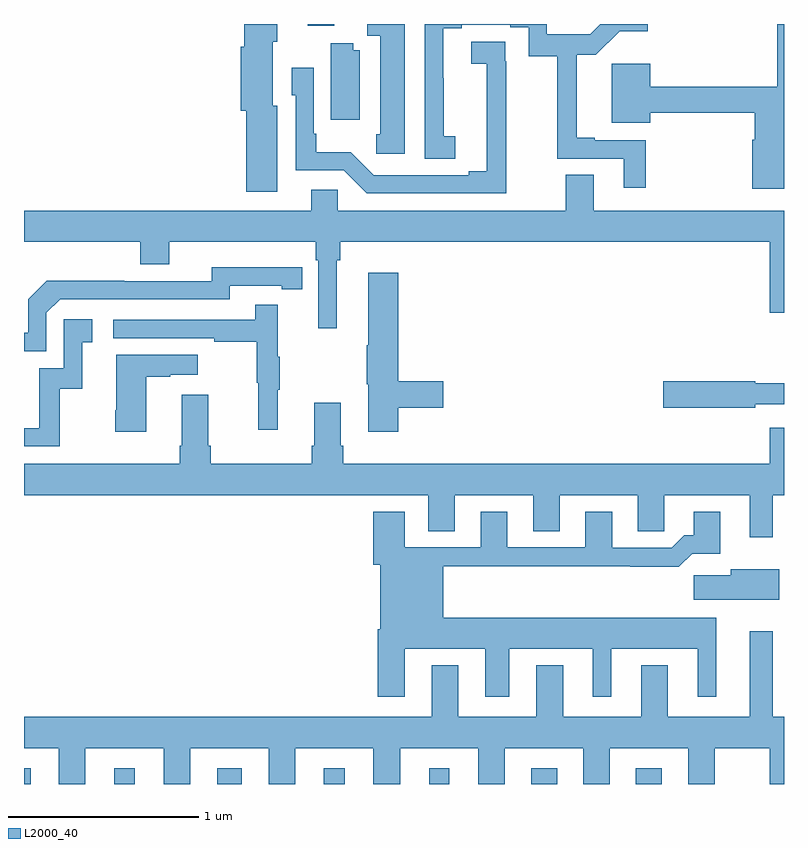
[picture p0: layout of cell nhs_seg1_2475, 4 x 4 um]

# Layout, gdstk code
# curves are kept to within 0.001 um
import gdstk
lib = gdstk.Library(unit=1e-6, precision=1e-09)
def R(c, l, rs):  # rectangles x0, y0, x1, y1
    for r in rs: c.add(gdstk.rectangle(r[:2], r[2:], *l))
def P(c, l, *ps):  # polygons
    for p in ps: c.add(gdstk.Polygon(p, *l))
L2000_40 = (2000, 40)

nhs_seg1_2475 = lib.new_cell('nhs_seg1_2475')
R(nhs_seg1_2475, L2000_40, [(245,562.199,245.035,562.282), (245.474,562.199,245.584,562.282), (246.017,562.199,246.145,562.282), (246.578,562.199,246.688,562.282), (247.133,562.199,247.237,562.282), (247.67,562.199,247.807,562.282), (248.219,562.199,248.356,562.282), (246.494,566.19,246.634,566.199)])
P(nhs_seg1_2475, L2000_40, [(248.273,565.587),(248.005,565.587),(248.005,565.6),(247.91,565.6),(247.91,566.037),(248.009,566.037),(248.135,566.162),(248.284,566.162),(248.284,566.199),(248.034,566.199),(247.981,566.146),(247.752,566.146),(247.752,566.199),(247.11,566.199),(247.11,565.489),(247.27,565.489),(247.27,565.609),(247.209,565.609),(247.209,565.913),(247.207,565.913),(247.207,566.176),(247.303,566.176),(247.303,566.196),(247.559,566.196),(247.559,566.182),(247.656,566.182),(247.656,566.029),(247.807,566.029),(247.807,565.491),(248.156,565.491),(248.156,565.338),(248.273,565.338)],
  [(249,566.199),(248.964,566.199),(248.964,565.868),(248.296,565.868),(248.296,565.989),(248.093,565.989),(248.093,565.679),(248.296,565.679),(248.296,565.732),(248.846,565.732),(248.846,565.59),(248.834,565.59),(248.834,565.331),(249,565.331)],
  [(246.334,565.77),(246.31,565.77),(246.31,566.106),(246.334,566.106),(246.334,566.199),(246.158,566.199),(246.158,566.079),(246.14,566.079),(246.14,565.743),(246.17,565.743),(246.17,565.317),(246.334,565.317)],
  [(247.003,566.199),(246.807,566.199),(246.807,566.136),(246.875,566.136),(246.875,565.62),(246.853,565.62),(246.853,565.515),(247.003,565.515)],
  [(247.538,566.003),(247.532,566.003),(247.532,566.105),(247.353,566.105),(247.353,565.99),(247.435,565.99),(247.436,565.424),(247.34,565.424),(247.34,565.404),(246.84,565.404),(246.719,565.525),(246.538,565.525),(246.538,565.621),(246.525,565.621),(246.525,565.969),(246.408,565.969),(246.408,565.824),(246.429,565.824),(246.429,565.428),(246.684,565.428),(246.804,565.308),(247.538,565.308)],
  [(246.766,566.062),(246.734,566.062),(246.734,566.099),(246.614,566.099),(246.614,565.695),(246.766,565.695)],
  [(246.646,564.956),(246.665,564.956),(246.665,565.052),(248.924,565.052),(248.924,564.678),(249,564.678),(249,565.216),(247.999,565.216),(247.999,565.406),(247.852,565.406),(247.852,565.216),(246.651,565.216),(246.651,565.326),(246.512,565.326),(246.512,565.216),(245,565.216),(245,565.052),(245.612,565.052),(245.612,564.935),(245.764,564.935),(245.764,565.052),(246.536,565.052),(246.536,564.956),(246.549,564.956),(246.549,564.597),(246.646,564.597)],
  [(245.118,564.678),(245.19,564.75),(246.084,564.75),(246.084,564.822),(246.356,564.822),(246.356,564.802),(246.464,564.802),(246.464,564.918),(245.988,564.919),(245.988,564.846),(245.528,564.846),(245.528,564.848),(245.12,564.848),(245.022,564.75),(245.022,564.573),(245,564.573),(245,564.477),(245.118,564.477)],
  [(246.971,564.178),(247.207,564.178),(247.207,564.32),(246.971,564.32),(246.971,564.889),(246.812,564.889),(246.812,564.509),(246.805,564.509),(246.805,564.303),(246.812,564.303),(246.812,564.054),(246.971,564.054)],
  [(246.335,564.275),(246.346,564.275),(246.346,564.449),(246.335,564.449),(246.335,564.721),(246.217,564.721),(246.217,564.642),(245.469,564.642),(245.469,564.546),(246.001,564.546),(246.001,564.526),(246.225,564.526),(246.225,564.312),(246.232,564.312),(246.232,564.063),(246.335,564.063)],
  [(245.188,564.279),(245.306,564.279),(245.306,564.525),(245.359,564.525),(245.359,564.646),(245.208,564.646),(245.208,564.387),(245.079,564.387),(245.079,564.072),(245,564.072),(245,563.976),(245.188,563.976)],
  [(245.644,564.343),(245.771,564.343),(245.771,564.353),(245.914,564.353),(245.914,564.457),(245.486,564.457),(245.486,564.166),(245.479,564.166),(245.479,564.054),(245.644,564.054)],
  [(248.848,564.198),(249,564.198),(249,564.307),(248.848,564.307),(248.848,564.32),(248.364,564.32),(248.364,564.178),(248.848,564.178)],
  [(248.941,563.72),(249,563.72),(249,564.073),(248.924,564.073),(248.924,563.884),(246.68,563.884),(246.68,563.98),(246.667,563.98),(246.667,564.205),(246.527,564.205),(246.527,563.98),(246.515,563.98),(246.515,563.884),(245.984,563.884),(245.984,563.98),(245.971,563.98),(245.971,564.247),(245.831,564.247),(245.831,563.98),(245.819,563.98),(245.819,563.884),(245,563.884),(245,563.72),(247.127,563.72),(247.127,563.53),(247.267,563.53),(247.267,563.72),(247.679,563.72),(247.679,563.53),(247.819,563.53),(247.819,563.72),(248.231,563.72),(248.231,563.53),(248.37,563.53),(248.37,563.72),(248.819,563.72),(248.819,563.499),(248.941,563.499)],
  [(247.003,562.91),(247.427,562.91),(247.427,562.659),(247.555,562.659),(247.555,562.91),(247.994,562.91),(247.994,562.659),(248.092,562.659),(248.092,562.91),(248.546,562.91),(248.546,562.659),(248.644,562.659),(248.644,563.074),(247.207,563.074),(247.207,563.344),(248.191,563.344),(248.191,563.342),(248.447,563.342),(248.516,563.411),(248.665,563.411),(248.665,563.632),(248.525,563.632),(248.525,563.509),(248.476,563.509),(248.409,563.442),(248.095,563.442),(248.095,563.632),(247.955,563.632),(247.955,563.445),(247.543,563.445),(247.543,563.632),(247.403,563.632),(247.403,563.445),(247.003,563.445),(247.003,563.632),(246.839,563.632),(246.839,563.352),(246.875,563.352),(246.875,563.014),(246.863,563.014),(246.863,562.659),(247.003,562.659)],
  [(248.974,563.329),(248.72,563.329),(248.72,563.297),(248.526,563.297),(248.526,563.168),(248.974,563.168)],
  [(245.323,562.388),(245.735,562.388),(245.735,562.199),(245.875,562.199),(245.875,562.388),(246.287,562.388),(246.287,562.199),(246.427,562.199),(246.427,562.388),(246.839,562.388),(246.839,562.199),(246.979,562.199),(246.979,562.388),(247.391,562.388),(247.391,562.199),(247.531,562.199),(247.531,562.388),(247.943,562.388),(247.943,562.199),(248.083,562.199),(248.083,562.388),(248.495,562.388),(248.495,562.199),(248.635,562.199),(248.635,562.388),(248.924,562.388),(248.924,562.199),(249,562.199),(249,562.552),(248.941,562.552),(248.941,563.002),(248.819,563.002),(248.819,562.552),(248.389,562.552),(248.389,562.825),(248.249,562.825),(248.249,562.552),(247.837,562.552),(247.837,562.825),(247.697,562.825),(247.697,562.552),(247.285,562.552),(247.285,562.825),(247.145,562.825),(247.145,562.552),(245,562.552),(245,562.388),(245.183,562.388),(245.183,562.199),(245.323,562.199)])

lib.write_gds('nhs_seg1_2475.gds')
